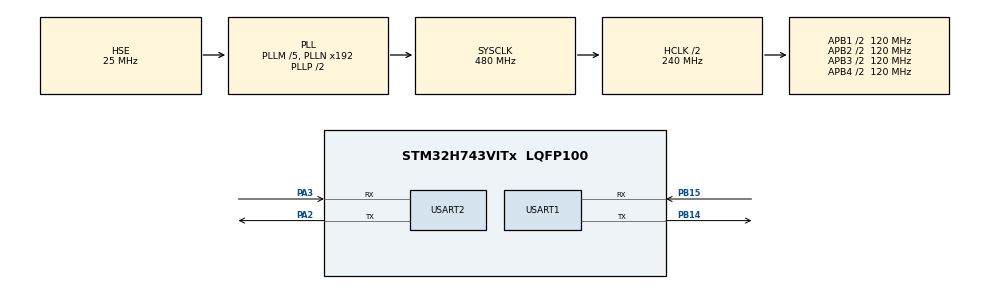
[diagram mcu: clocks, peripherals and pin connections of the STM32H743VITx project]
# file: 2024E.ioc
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CORTEX_M7.AccessPermission-Cortex_Memory_Protection_Unit_Region0_Settings=MPU_REGION_FULL_ACCESS
CORTEX_M7.AccessPermission-Cortex_Memory_Protection_Unit_Region1_Settings=MPU_REGION_FULL_ACCESS
CORTEX_M7.AccessPermission-Cortex_Memory_Protection_Unit_Region2_Settings=MPU_REGION_FULL_ACCESS
CORTEX_M7.AccessPermission-Cortex_Memory_Protection_Unit_Region3_Settings=MPU_REGION_FULL_ACCESS
CORTEX_M7.AccessPermission-Cortex_Memory_Protection_Unit_Region4_Settings=MPU_REGION_FULL_ACCESS
CORTEX_M7.BaseAddress-Cortex_Memory_Protection_Unit_Region0_Settings=0x24000000
CORTEX_M7.BaseAddress-Cortex_Memory_Protection_Unit_Region1_Settings=0x30000000
CORTEX_M7.BaseAddress-Cortex_Memory_Protection_Unit_Region2_Settings=0x30020000
CORTEX_M7.BaseAddress-Cortex_Memory_Protection_Unit_Region3_Settings=0x30040000
CORTEX_M7.BaseAddress-Cortex_Memory_Protection_Unit_Region4_Settings=0x38000000
CORTEX_M7.CPU_DCache=Enabled
CORTEX_M7.CPU_ICache=Enabled
CORTEX_M7.Enable-Cortex_Memory_Protection_Unit_Region0_Settings=MPU_REGION_ENABLE
CORTEX_M7.Enable-Cortex_Memory_Protection_Unit_Region1_Settings=MPU_REGION_ENABLE
CORTEX_M7.Enable-Cortex_Memory_Protection_Unit_Region2_Settings=MPU_REGION_ENABLE
CORTEX_M7.Enable-Cortex_Memory_Protection_Unit_Region3_Settings=MPU_REGION_ENABLE
CORTEX_M7.Enable-Cortex_Memory_Protection_Unit_Region4_Settings=MPU_REGION_ENABLE
CORTEX_M7.IsBufferable-Cortex_Memory_Protection_Unit_Region0_Settings=MPU_ACCESS_BUFFERABLE
CORTEX_M7.IsCacheable-Cortex_Memory_Protection_Unit_Region0_Settings=MPU_ACCESS_CACHEABLE
CORTEX_M7.MPU_Control=MPU_PRIVILEGED_DEFAULT
CORTEX_M7.Size-Cortex_Memory_Protection_Unit_Region0_Settings=MPU_REGION_SIZE_512KB
CORTEX_M7.Size-Cortex_Memory_Protection_Unit_Region1_Settings=MPU_REGION_SIZE_128KB
CORTEX_M7.Size-Cortex_Memory_Protection_Unit_Region2_Settings=MPU_REGION_SIZE_128KB
CORTEX_M7.Size-Cortex_Memory_Protection_Unit_Region3_Settings=MPU_REGION_SIZE_32KB
CORTEX_M7.Size-Cortex_Memory_Protection_Unit_Region4_Settings=MPU_REGION_SIZE_64KB
CORTEX_M7.TypeExtField-Cortex_Memory_Protection_Unit_Region0_Settings=MPU_TEX_LEVEL1
CORTEX_M7.TypeExtField-Cortex_Memory_Protection_Unit_Region1_Settings=MPU_TEX_LEVEL1
CORTEX_M7.TypeExtField-Cortex_Memory_Protection_Unit_Region2_Settings=MPU_TEX_LEVEL1
CORTEX_M7.TypeExtField-Cortex_Memory_Protection_Unit_Region3_Settings=MPU_TEX_LEVEL1
CORTEX_M7.TypeExtField-Cortex_Memory_Protection_Unit_Region4_Settings=MPU_TEX_LEVEL1
Mcu.Family=STM32H7
Mcu.Name=STM32H743VITx
Mcu.Package=LQFP100
NVIC.PriorityGroup=NVIC_PRIORITYGROUP_4
NVIC.TIM17_IRQn=true\:0\:0\:false\:false\:true\:true\:true\:true
NVIC.USART1_IRQn=true\:0\:0\:false\:false\:true\:true\:true\:true
NVIC.USART2_IRQn=true\:0\:0\:false\:false\:true\:true\:true\:true
PA13\ (JTMS/SWDIO).Mode=Serial_Wire
PA13\ (JTMS/SWDIO).Signal=DEBUG_JTMS-SWDIO
PA14\ (JTCK/SWCLK).Mode=Serial_Wire
PA14\ (JTCK/SWCLK).Signal=DEBUG_JTCK-SWCLK
PA2.Mode=Asynchronous
PA2.Signal=USART2_TX
PA3.Mode=Asynchronous
PA3.Signal=USART2_RX
PB14.Mode=Asynchronous
PB14.Signal=USART1_TX
PB15.Mode=Asynchronous
PB15.Signal=USART1_RX
PH0-OSC_IN\ (PH0).Mode=HSE-External-Oscillator
PH0-OSC_IN\ (PH0).Signal=RCC_OSC_IN
PH1-OSC_OUT\ (PH1).Mode=HSE-External-Oscillator
PH1-OSC_OUT\ (PH1).Signal=RCC_OSC_OUT
ProjectManager.HeapSize=0x200
ProjectManager.StackSize=0x7400
ProjectManager.TargetToolchain=MDK-ARM V5.32
RCC.ADCFreq_Value=50390625
RCC.APB1Freq_Value=120000000
RCC.APB2Freq_Value=120000000
RCC.APB3Freq_Value=120000000
RCC.APB4Freq_Value=120000000
RCC.CortexFreq_Value=480000000
RCC.D1PPRE=RCC_APB3_DIV2
RCC.D2PPRE1=RCC_APB1_DIV2
RCC.D2PPRE2=RCC_APB2_DIV2
RCC.D3PPRE=RCC_APB4_DIV2
RCC.DIVM1=5
RCC.DIVN1=192
RCC.HCLKFreq_Value=240000000
RCC.HPRE=RCC_HCLK_DIV2
RCC.PLLSourceVirtual=RCC_PLLSOURCE_HSE
RCC.PWR_Regulator_Voltage_Scale=PWR_REGULATOR_VOLTAGE_SCALE0
RCC.ProductRev=revV
RCC.SYSCLKFreq_VALUE=480000000
RCC.SYSCLKSource=RCC_SYSCLKSOURCE_PLLCLK
RCC.USBFreq_Value=480000000
TIM17.AutoReloadPreload=TIM_AUTORELOAD_PRELOAD_ENABLE
TIM17.Period=10000-1
TIM17.Prescaler=23999
TIM7.Prescaler=239
USART1.VirtualMode-Asynchronous=VM_ASYNC
USART2.VirtualMode-Asynchronous=VM_ASYNC
VP_MEMORYMAP_VS_MEMORYMAP.Mode=CurAppReg
VP_TIM17_VS_ClockSourceINT.Mode=Enable_Timer
VP_TIM7_VS_ClockSourceINT.Mode=Enable_Timer
board=custom

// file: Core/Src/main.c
/* USER CODE BEGIN Header */
/**
 ******************************************************************************
 * @file           : main.c
 * @brief          : Main program body
 ******************************************************************************
 * @attention
 *
 * Copyright (c) 2024 STMicroelectronics.
 * All rights reserved.
 *
 * This software is licensed under terms that can be found in the LICENSE file
 * in the root directory of this software component.
 * If no LICENSE file comes with this software, it is provided AS-IS.
 *
 ******************************************************************************
 */
/* USER CODE END Header */
#include "main.h"
#include "memorymap.h"
#include "tim.h"
#include "usart.h"
#include "gpio.h"

void SystemClock_Config(void);
static void MPU_Config(void);

/* USER CODE BEGIN 0 */

#define USART_REC_LEN 200
uint8_t Res =0 ;
uint8_t USART2_RX_BUF[USART_REC_LEN] = {0}; // 接收缓冲,最大USART_REC_LEN个字节.（一般给200，接收数据量大就增加）
uint16_t USART2_RX_STA = 0;           // 接收状态标记

/* USER CODE END 0 */

int main(void)
{

  /* MPU Configuration--------------------------------------------------------*/
  MPU_Config();

  /* Enable the CPU Cache */

  /* Enable I-Cache---------------------------------------------------------*/
  SCB_EnableICache();

  /* Enable D-Cache---------------------------------------------------------*/
  SCB_EnableDCache();

  /* MCU Configuration--------------------------------------------------------*/

  /* Reset of all peripherals, Initializes the Flash interface and the Systick. */
  HAL_Init();

  /* Configure the system clock */
  SystemClock_Config();

  /* Initialize all configured peripherals */
  MX_GPIO_Init();
  MX_TIM7_Init();
  MX_USART1_UART_Init();
  MX_USART2_UART_Init();
  MX_TIM17_Init();
  /* USER CODE BEGIN 2 */

  printf("start\n");
  USART1PutString("n0.val=0\xff\xff\xff");
  USART2PutString("Hello STM32H7 usart2!\n");
  HAL_UART_Receive_IT(&huart2, &Res, 1);
  /* USER CODE END 2 */

  /* Infinite loop */
  /* USER CODE BEGIN WHILE */
  while (1)
  {

    if (USART2_RX_STA & 0x8000)
    {
      // HAL_UART_Transmit_IT(&huart2, USART2_RX_BUF, USART2_RX_STA & 0x7FFF);
      // while (huart2.gState != HAL_UART_STATE_READY){};
      USART2_RX_BUF[USART2_RX_STA & 0x7FFF] = 0;
      USART2PutString((char *)USART2_RX_BUF);
      USART2_RX_STA = 0;
      if (strcmp("stop the clock\n",(char *)USART2_RX_BUF) == 0)
      {
        HAL_TIM_Base_Stop_IT(&htim17);
        __HAL_TIM_SET_COUNTER(&htim17, 0);
        printf("clock has been stoped\n");
      }
      else if (strcmp("start the clock\n", (char *)USART2_RX_BUF) == 0)
      {
        cnt = 0;
        __HAL_TIM_SET_COUNTER(&htim17, 0);
        HAL_TIM_Base_Start_IT(&htim17);
        printf("clock has been started\n");
      }
    }

    /* USER CODE END WHILE */

  }
}

void SystemClock_Config(void)
{
  RCC_OscInitTypeDef RCC_OscInitStruct = {0};
  RCC_ClkInitTypeDef RCC_ClkInitStruct = {0};

  /** Supply configuration update enable
   */
  HAL_PWREx_ConfigSupply(PWR_LDO_SUPPLY);

  /** Configure the main internal regulator output voltage
   */
  __HAL_PWR_VOLTAGESCALING_CONFIG(PWR_REGULATOR_VOLTAGE_SCALE1);

  while (!__HAL_PWR_GET_FLAG(PWR_FLAG_VOSRDY))
  {
  }

  __HAL_RCC_SYSCFG_CLK_ENABLE();
  __HAL_PWR_VOLTAGESCALING_CONFIG(PWR_REGULATOR_VOLTAGE_SCALE0);

  while (!__HAL_PWR_GET_FLAG(PWR_FLAG_VOSRDY))
  {
  }

  /** Initializes the RCC Oscillators according to the specified parameters
   * in the RCC_OscInitTypeDef structure.
   */
  RCC_OscInitStruct.OscillatorType = RCC_OSCILLATORTYPE_HSE;
  RCC_OscInitStruct.HSEState = RCC_HSE_ON;
  RCC_OscInitStruct.PLL.PLLState = RCC_PLL_ON;
  RCC_OscInitStruct.PLL.PLLSource = RCC_PLLSOURCE_HSE;
  RCC_OscInitStruct.PLL.PLLM = 5;
  RCC_OscInitStruct.PLL.PLLN = 192;
  RCC_OscInitStruct.PLL.PLLP = 2;
  RCC_OscInitStruct.PLL.PLLQ = 2;
  RCC_OscInitStruct.PLL.PLLR = 2;
  RCC_OscInitStruct.PLL.PLLRGE = RCC_PLL1VCIRANGE_2;
  RCC_OscInitStruct.PLL.PLLVCOSEL = RCC_PLL1VCOWIDE;
  RCC_OscInitStruct.PLL.PLLFRACN = 0;
  if (HAL_RCC_OscConfig(&RCC_OscInitStruct) != HAL_OK)
  {
    Error_Handler();
  }

  /** Initializes the CPU, AHB and APB buses clocks
   */
  RCC_ClkInitStruct.ClockType = RCC_CLOCKTYPE_HCLK | RCC_CLOCKTYPE_SYSCLK | RCC_CLOCKTYPE_PCLK1 | RCC_CLOCKTYPE_PCLK2 | RCC_CLOCKTYPE_D3PCLK1 | RCC_CLOCKTYPE_D1PCLK1;
  RCC_ClkInitStruct.SYSCLKSource = RCC_SYSCLKSOURCE_PLLCLK;
  RCC_ClkInitStruct.SYSCLKDivider = RCC_SYSCLK_DIV1;
  RCC_ClkInitStruct.AHBCLKDivider = RCC_HCLK_DIV2;
  RCC_ClkInitStruct.APB3CLKDivider = RCC_APB3_DIV2;
  RCC_ClkInitStruct.APB1CLKDivider = RCC_APB1_DIV2;
  RCC_ClkInitStruct.APB2CLKDivider = RCC_APB2_DIV2;
  RCC_ClkInitStruct.APB4CLKDivider = RCC_APB4_DIV2;

  if (HAL_RCC_ClockConfig(&RCC_ClkInitStruct, FLASH_LATENCY_4) != HAL_OK)
  {
    Error_Handler();
  }
}

/* USER CODE BEGIN 4 */

void HAL_UART_RxCpltCallback(UART_HandleTypeDef *huart)
{
  /* 判断是哪个串口触发的中断 */
  if (huart->Instance == USART2)
  {
    // 处理接受到的数据
    if ((USART2_RX_STA & 0x8000) == 0) // 接收未完成
    {
      // 读取接收到的数据
      if (Res == 0x0D)
      {
        USART2_RX_STA |= 0x8000;
        HAL_UART_Receive_IT(&huart2, &Res, 1);
      }
      else
      {
        USART2_RX_BUF[USART2_RX_STA & 0X3FFF] = Res;
        USART2_RX_STA++;
        if (USART2_RX_STA > (USART_REC_LEN - 1))
          USART2_RX_STA = 0;
      }
    }
    // 等待下一次接收中断
    HAL_UART_Receive_IT(huart, &Res, 1);
  }
}

/* USER CODE END 4 */

/* MPU Configuration */

void MPU_Config(void)
{
  MPU_Region_InitTypeDef MPU_InitStruct = {0};

  /* Disables the MPU */
  HAL_MPU_Disable();

  /** Initializes and configures the Region and the memory to be protected
   */
  MPU_InitStruct.Enable = MPU_REGION_ENABLE;
  MPU_InitStruct.Number = MPU_REGION_NUMBER0;
  MPU_InitStruct.BaseAddress = 0x24000000;
  MPU_InitStruct.Size = MPU_REGION_SIZE_512KB;
  MPU_InitStruct.SubRegionDisable = 0x0;
  MPU_InitStruct.TypeExtField = MPU_TEX_LEVEL1;
  MPU_InitStruct.AccessPermission = MPU_REGION_FULL_ACCESS;
  MPU_InitStruct.DisableExec = MPU_INSTRUCTION_ACCESS_ENABLE;
  MPU_InitStruct.IsShareable = MPU_ACCESS_NOT_SHAREABLE;
  MPU_InitStruct.IsCacheable = MPU_ACCESS_CACHEABLE;
  MPU_InitStruct.IsBufferable = MPU_ACCESS_BUFFERABLE;

  HAL_MPU_ConfigRegion(&MPU_InitStruct);

  /** Initializes and configures the Region and the memory to be protected
   */
  MPU_InitStruct.Number = MPU_REGION_NUMBER1;
  MPU_InitStruct.BaseAddress = 0x30000000;
  MPU_InitStruct.Size = MPU_REGION_SIZE_128KB;
  MPU_InitStruct.IsCacheable = MPU_ACCESS_NOT_CACHEABLE;
  MPU_InitStruct.IsBufferable = MPU_ACCESS_NOT_BUFFERABLE;

  HAL_MPU_ConfigRegion(&MPU_InitStruct);

  /** Initializes and configures the Region and the memory to be protected
   */
  MPU_InitStruct.Number = MPU_REGION_NUMBER2;
  MPU_InitStruct.BaseAddress = 0x30020000;

  HAL_MPU_ConfigRegion(&MPU_InitStruct);

  /** Initializes and configures the Region and the memory to be protected
   */
  MPU_InitStruct.Number = MPU_REGION_NUMBER3;
  MPU_InitStruct.BaseAddress = 0x30040000;
  MPU_InitStruct.Size = MPU_REGION_SIZE_32KB;

  HAL_MPU_ConfigRegion(&MPU_InitStruct);

  /** Initializes and configures the Region and the memory to be protected
   */
  MPU_InitStruct.Number = MPU_REGION_NUMBER4;
  MPU_InitStruct.BaseAddress = 0x38000000;
  MPU_InitStruct.Size = MPU_REGION_SIZE_64KB;

  HAL_MPU_ConfigRegion(&MPU_InitStruct);
  /* Enables the MPU */
  HAL_MPU_Enable(MPU_PRIVILEGED_DEFAULT);
}

void Error_Handler(void)
{
  __disable_irq();
  while (1)
  {
  }
}
